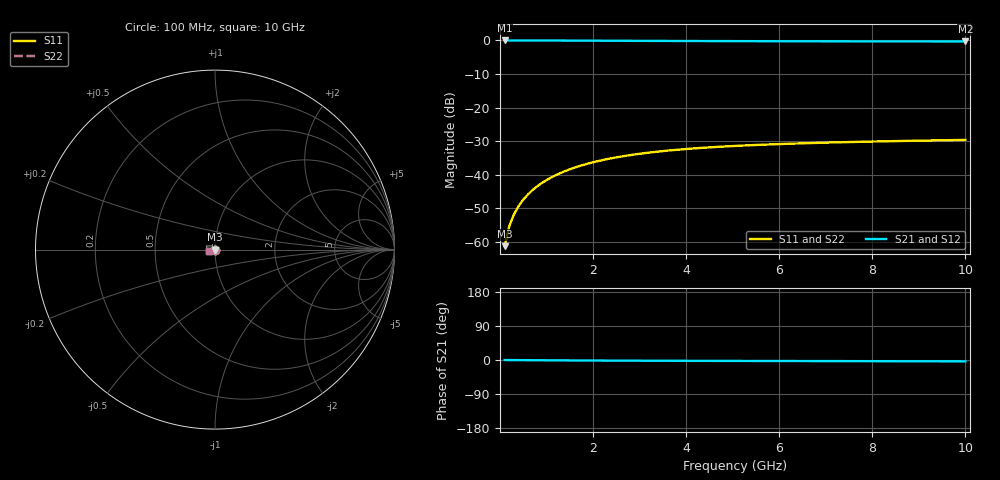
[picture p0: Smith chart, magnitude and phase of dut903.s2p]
! Touchstone file exported from HFSS 2024.1.0
!  File:  C:/UserFiles/LocalFiles/RDL_TSV_Batchsim/temp_TSV1_903_1779944412.aedt
!  Generated:  01:05:31 PM May 28, 2026
!  Design:  TSV1
!  Project:  temp_TSV1_903_1779944412
!  Setup:  Setup1
!  Solution:  Sweep
! Variables:
!  dtsv = 9.92um
!  hbump = 3um
!  htsv = 53.18um
!  lrdl = 252.1521522um
!  p = 40
!  p1 = 42.21um
!  t = 500um
!  trdl = 3um
!  wrdl = 24.89489489um
# GHz S MA R 50.000000
! Terminal data exported
! Port[1] = TSV22_T1
! Port[2] = TSV22_T2
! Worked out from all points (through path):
!   100 points, 100 MHz to 10 GHz, reference 50 ohm
!   highest |S21| = 0.00 dB at 100 MHz (marker M1); lowest = -0.3 dB at 10 GHz (marker M2)
!   lowest |S11| = -61.3 dB at 100 MHz (marker M3), VSWR 1.00, Z = 50 - j0.0861 ohm
!   |S11| at or under -10 dB: start of sweep to end of sweep
!   |S22| runs from -61.3 to -29.6 dB; largest |S21 - S12| = 5.5e-15
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0.1  0.0008657 -83.7  0.9999 -0.1  0.9999 -0.1  0.0008657 -83.7
! Gamma 0 0 0 0
! Port Impedance 50 0 50 0
0.2  0.001718 -89.3  0.9998 -0.2  0.9998 -0.2  0.001718 -89.3
0.3  0.002569 -92.2  0.9996 -0.3  0.9996 -0.3  0.002569 -92.2
0.4  0.003417 -94.5  0.9995 -0.3  0.9995 -0.3  0.003417 -94.5
0.5  0.00426 -96.5  0.9992 -0.4  0.9992 -0.4  0.00426 -96.5
0.6  0.005095 -98.3  0.999 -0.5  0.999 -0.5  0.005095 -98.3
0.7  0.005922 -100.1  0.9986 -0.6  0.9986 -0.6  0.005922 -100.1
0.8  0.006738 -101.8  0.9983 -0.7  0.9983 -0.7  0.006738 -101.8
0.9  0.007543 -103.4  0.9979 -0.7  0.9979 -0.7  0.007543 -103.4
1.1  0.009112 -106.6  0.997 -0.9  0.997 -0.9  0.009112 -106.6
1.4  0.01135 -111.1  0.9955 -1.1  0.9955 -1.1  0.01135 -111.1
1.6  0.01276 -113.9  0.9944 -1.2  0.9944 -1.2  0.01276 -113.9
1.8  0.01409 -116.6  0.9932 -1.3  0.9932 -1.3  0.01409 -116.6
2.1  0.01595 -120.5  0.9914 -1.5  0.9914 -1.5  0.01595 -120.5
2.5  0.01817 -125.3  0.9891 -1.7  0.9891 -1.7  0.01817 -125.3
2.9  0.0201 -129.7  0.9868 -1.8  0.9868 -1.8  0.0201 -129.7
3.4  0.02216 -134.6  0.984 -2.0  0.984 -2.0  0.02216 -134.6
4.2  0.02479 -141.4  0.9802 -2.3  0.9802 -2.3  0.02479 -141.4
5.1  0.02699 -147.8  0.9766 -2.5  0.9766 -2.5  0.02699 -147.8
6.7  0.02971 -156.7  0.9719 -2.8  0.9719 -2.8  0.02971 -156.7
8.4  0.03166 -164.1  0.9685 -3.2  0.9685 -3.2  0.03166 -164.1
10  0.03306 -169.9  0.9663 -3.5  0.9663 -3.5  0.03306 -169.9
